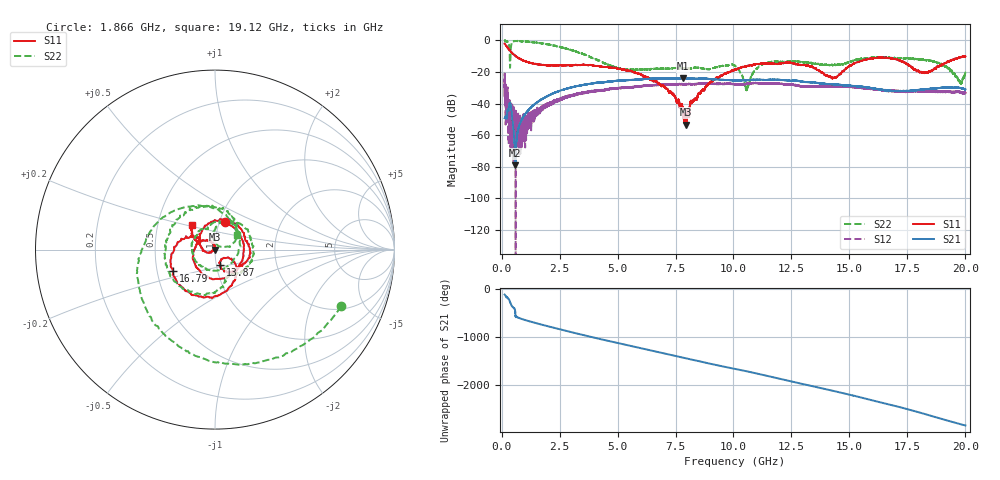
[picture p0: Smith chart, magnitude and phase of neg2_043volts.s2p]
!Created with skrf (http://scikit-rf.org).
# GHz S RI R 50.0
!freq ReS11 ImS11 ReS21 ImS21 ReS12 ImS12 ReS22 ImS22
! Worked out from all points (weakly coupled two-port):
!   20013 points, 130 MHz to 20 GHz, reference 50 ohm
!   highest |S21| = -24.05 dB at 7.814 GHz (marker M1); lowest = -79.1 dB at 593 MHz (marker M2)
!   lowest |S11| = -53.3 dB at 7.96 GHz (marker M3), VSWR 1.00, Z = 49.8 - j0.0369 ohm
!   |S11| at or under -10 dB: 605.4 MHz to end of sweep
!   |S22| runs from -31.6 to -0.1 dB; largest |S21 - S12| = 0.086
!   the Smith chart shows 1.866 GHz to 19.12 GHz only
!   S11 on the Smith chart (normalised r, x): 1.866 GHz: 1.06, +0.34; 13.87 GHz: 1.04, -0.18; 16.79 GHz: 0.61, -0.15; 19.12 GHz: 0.74, +0.21
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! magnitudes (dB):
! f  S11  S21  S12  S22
! 130 MHz  -2.1  -49.3  -35.4  -0.2
! 369 MHz  -6.7  -39.9  -45.5  -16.2
! 593 MHz  -9.8  -79.1  -63.4  -0.5
! 974 MHz  -13.0  -47.5  -51.5  -0.7
! 1.866 GHz  -15.7  -36.2  -41.2  -2.3
! 3.442 GHz  -15.6  -28.5  -33.7  -8.3
! 5.241 GHz  -18.5  -25.3  -30.2  -18.4
! 6.754 GHz  -27.2  -24.2  -28.2  -18.0
! 7.814 GHz  -44.0  -24.0  -27.8  -17.9
! 7.96 GHz  -53.3  -24.2  -27.7  -17.6
! 8.912 GHz  -27.8  -24.4  -27.4  -18.3
! 10.06 GHz  -18.3  -25.4  -27.6  -16.1
! 10.58 GHz  -16.3  -25.3  -27.7  -31.2
! 11.3 GHz  -14.6  -25.0  -27.4  -14.9
! 13.38 GHz  -16.7  -26.6  -29.2  -14.5
! 13.87 GHz  -20.9  -27.4  -29.4  -15.5
! 16.69 GHz  -11.3  -31.8  -32.0  -11.0
! 16.79 GHz  -11.7  -31.9  -32.1  -11.2
! 18.19 GHz  -20.4  -31.0  -32.2  -12.2
! 19.12 GHz  -14.4  -29.9  -32.3  -16.7
! 19.77 GHz  -10.7  -30.1  -32.5  -26.3
! 20 GHz  -10.1  -31.1  -33.4  -20.4
